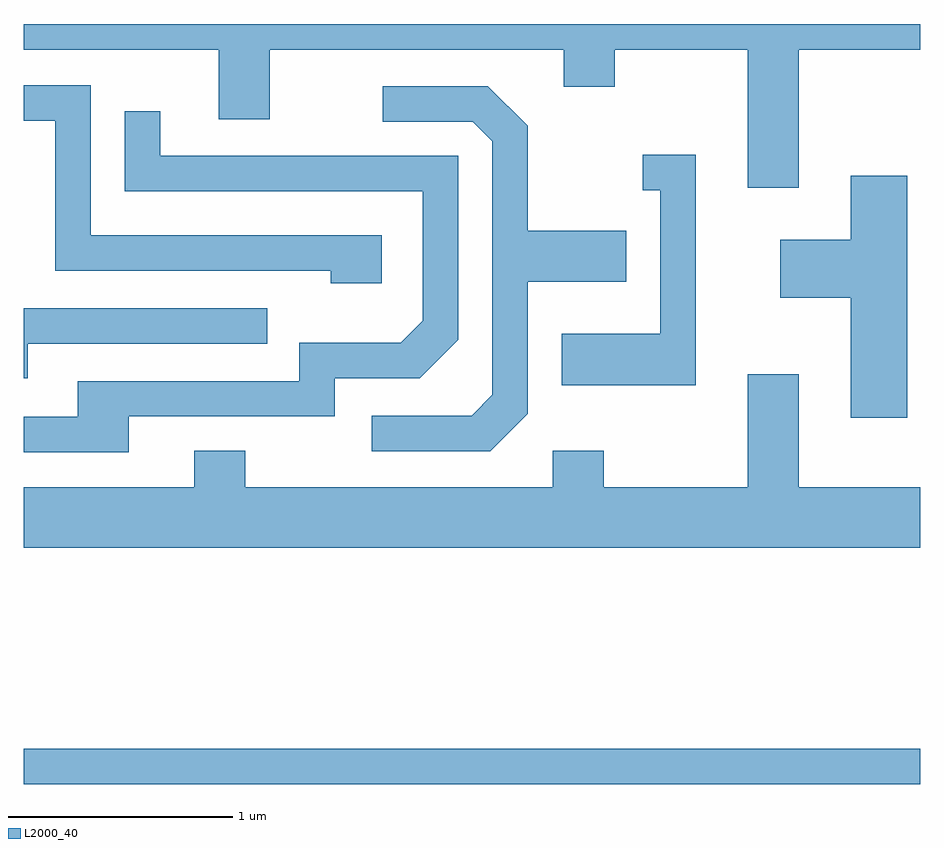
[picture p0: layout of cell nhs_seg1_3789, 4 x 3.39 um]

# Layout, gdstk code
import gdstk
lib = gdstk.Library(unit=1e-6, precision=1e-09)
def R(c, l, rs):  # rectangles x0, y0, x1, y1
    for r in rs: c.add(gdstk.rectangle(r[:2], r[2:], *l))
def P(c, l, *ps):  # polygons
    for p in ps: c.add(gdstk.Polygon(p, *l))
L2000_40 = (2000, 40)

nhs_seg1_3789 = lib.new_cell('nhs_seg1_3789')
R(nhs_seg1_3789, L2000_40, [(299.611,876.321,303.611,876.479)])
P(nhs_seg1_3789, L2000_40, [(303.069,879.596),(303.611,879.596),(303.611,879.712),(299.611,879.712),(299.611,879.596),(300.481,879.596),(300.481,879.286),(300.709,879.286),(300.709,879.596),(302.021,879.596),(302.021,879.431),(302.249,879.431),(302.249,879.596),(302.841,879.596),(302.841,878.981),(303.069,878.981)],
  [(301.209,878.769),(299.909,878.769),(299.909,879.439),(299.611,879.439),(299.611,879.281),(299.751,879.281),(299.751,878.611),(300.981,878.611),(300.981,878.556),(301.209,878.556)],
  [(301.859,877.974),(301.859,878.561),(302.299,878.561),(302.299,878.789),(301.859,878.789),(301.859,879.257),(301.682,879.434),(301.213,879.434),(301.213,879.276),(301.614,879.276),(301.701,879.189),(301.701,878.057),(301.609,877.964),(301.163,877.964),(301.163,877.806),(301.692,877.806)],
  [(300.079,877.961),(300.999,877.961),(300.999,878.131),(301.377,878.131),(301.549,878.304),(301.549,879.124),(300.219,879.124),(300.219,879.323),(300.061,879.323),(300.061,878.966),(301.391,878.966),(301.391,878.387),(301.294,878.289),(300.841,878.289),(300.841,878.119),(299.851,878.119),(299.851,877.959),(299.611,877.959),(299.611,877.801),(300.079,877.801)],
  [(302.609,879.129),(302.373,879.129),(302.373,878.971),(302.451,878.971),(302.451,878.329),(302.011,878.329),(302.011,878.101),(302.609,878.101)],
  [(303.554,879.034),(303.301,879.034),(303.301,878.749),(302.986,878.749),(302.986,878.491),(303.301,878.491),(303.301,877.956),(303.554,877.956)],
  [(299.629,878.286),(300.698,878.286),(300.698,878.444),(299.611,878.444),(299.611,878.131),(299.629,878.131)],
  [(303.611,877.644),(303.069,877.644),(303.069,878.149),(302.841,878.149),(302.841,877.644),(302.199,877.644),(302.199,877.809),(301.971,877.809),(301.971,877.644),(300.599,877.644),(300.599,877.809),(300.371,877.809),(300.371,877.644),(299.611,877.644),(299.611,877.376),(303.611,877.376)])

lib.write_gds('nhs_seg1_3789.gds')
